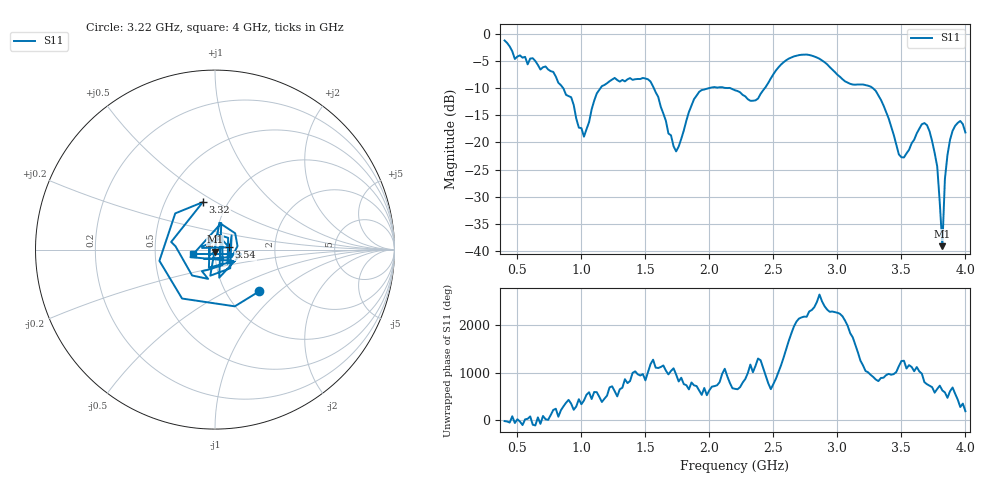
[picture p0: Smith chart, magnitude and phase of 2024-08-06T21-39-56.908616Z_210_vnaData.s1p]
!Created with skrf (http://scikit-rf.org).
# Hz S RI R 50.0
!freq ReS11 ImS11
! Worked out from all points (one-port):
!   181 points, 400 MHz to 4 GHz, reference 50 ohm
!   lowest |S11| = -39.2 dB at 3.82 GHz (marker M1), VSWR 1.02, Z = 49.9 - j1.1 ohm
!   |S11| at or under -10 dB: 859.2 MHz to 1.147 GHz (288.2 MHz wide, 28.7 % of centre); 1.567 GHz to 1.988 GHz (421.6 MHz wide, 23.7 % of centre); 3.28 GHz to end of sweep (the widest 3 of 4)
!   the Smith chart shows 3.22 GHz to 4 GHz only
!   S11 on the Smith chart (normalised r, x): 3.22 GHz: 1.43, -0.75; 3.32 GHz: 0.76, +0.44; 3.54 GHz: 1.17, +0.03; 4 GHz: 0.78, -0.04
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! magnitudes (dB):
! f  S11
! 400 MHz  -1.1
! 480 MHz  -4.6
! 620 MHz  -4.4
! 860 MHz  -10.0
! 1.02 GHz  -18.9
! 1.12 GHz  -10.9
! 1.3 GHz  -8.7
! 1.54 GHz  -8.7
! 1.72 GHz  -20.7
! 1.76 GHz  -20.8
! 1.92 GHz  -10.6
! 2.2 GHz  -10.3
! 2.36 GHz  -12.2
! 2.66 GHz  -4.1
! 3.1 GHz  -9.2
! 3.22 GHz  -9.4
! 3.32 GHz  -11.3
! 3.48 GHz  -22.2
! 3.54 GHz  -22.0
! 3.56 GHz  -21.3
! 3.66 GHz  -16.6
! 3.72 GHz  -17.9
! 3.78 GHz  -24.5
! 3.82 GHz  -39.2
! 3.84 GHz  -26.7
! 3.88 GHz  -19.5
! 3.96 GHz  -16.0
! 4 GHz  -18.1
